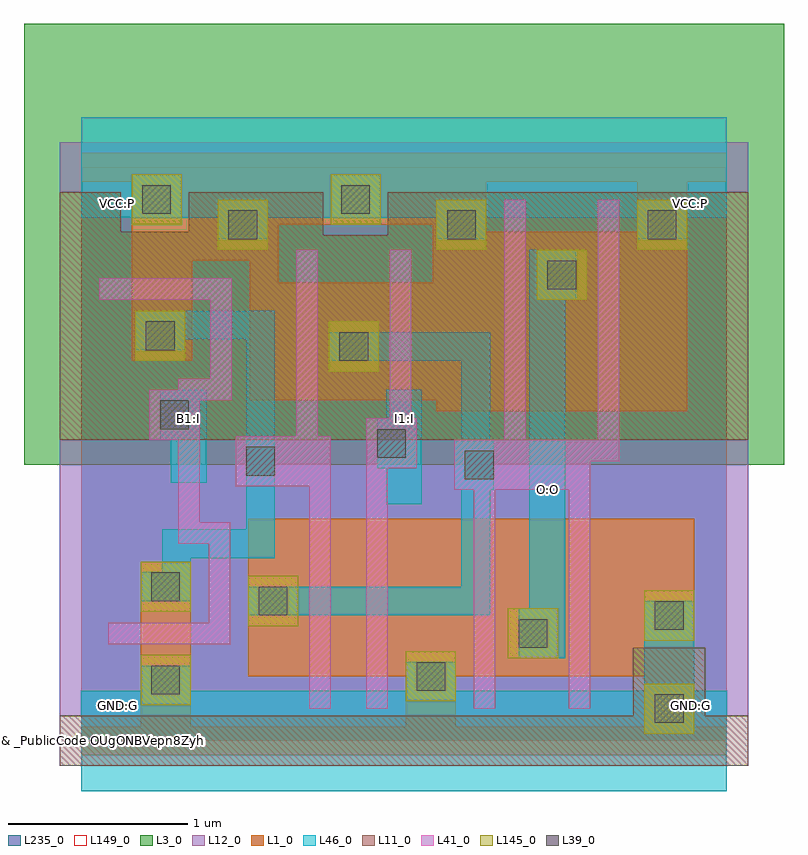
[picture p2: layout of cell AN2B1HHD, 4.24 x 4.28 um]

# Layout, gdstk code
from math import pi, radians
import gdstk
lib = gdstk.Library(unit=1e-6, precision=1e-09)
def R(c, l, rs):  # rectangles x0, y0, x1, y1
    for r in rs: c.add(gdstk.rectangle(r[:2], r[2:], *l))
def P(c, l, *ps):  # polygons
    for p in ps: c.add(gdstk.Polygon(p, *l))
L1_0 = (1, 0)
L3_0 = (3, 0)
L11_0 = (11, 0)
L12_0 = (12, 0)
L39_0 = (39, 0)
L41_0 = (41, 0)
L46_0 = (46, 0)
L145_0 = (145, 0)
L149_0 = (149, 0)
L235_0 = (235, 0)

c_pc = lib.new_cell('PC')
R(c_pc, L39_0, [(-0.08,-0.08,0.08,0.08)])
R(c_pc, L41_0, [(-0.14,-0.14,0.14,0.14)])
R(c_pc, L46_0, [(-0.08,-0.14,0.08,0.14)])

c_mc = lib.new_cell('MC')
R(c_mc, L39_0, [(-0.08,-0.08,0.08,0.08)])
R(c_mc, L46_0, [(-0.08,-0.14,0.08,0.14)])
R(c_mc, L145_0, [(-0.14,-0.14,0.14,0.14)])

ghlenmbpaik__41gum4xw0 = lib.new_cell('GHLENMBPAIK$$41Gum4XW0')
R(ghlenmbpaik__41gum4xw0, L1_0, [(0,-0.08,3.6,0.08), (0.33,0.08,0.61,1), (0.93,0.36,1.81,1.24), (0,3.12,3.6,3.28)])
P(ghlenmbpaik__41gum4xw0, L1_0, [(0.94,3.12),(0.28,3.12),(0.28,2.12),(0.62,2.12),(0.62,2.68),(0.94,2.68)],
  [(3.42,1.24),(1.81,1.24),(1.81,0.08),(2.09,0.08),(2.09,0.36),(3.14,0.36),(3.14,0.08),(3.42,0.08)],
  [(3.38,3.12),(3.1,3.12),(3.1,2.84),(2.26,2.84),(2.26,3.12),(1.96,3.12),(1.96,2.56),(1.1,2.56),(1.1,2.88),(1.96,2.88),(1.96,3.12),(0.94,3.12),(0.94,1.9),(1.98,1.9),(1.98,1.84),(3.38,1.84)])
R(ghlenmbpaik__41gum4xw0, L3_0, [(-0.32,1.54,3.92,4)])
P(ghlenmbpaik__41gum4xw0, L11_0, [(3.72,0.14),(3.48,0.14),(3.48,0.52),(3.08,0.52),(3.08,0.14),(-0.12,0.14),(-0.12,-0.14),(3.72,-0.14)],
  [(3.72,3.06),(1.71,3.06),(1.71,2.82),(1.35,2.82),(1.35,3.06),(0.6,3.06),(0.6,2.84),(0.22,2.84),(0.22,3.06),(-0.12,3.06),(-0.12,1.68),(3.72,1.68)])
P(ghlenmbpaik__41gum4xw0, L12_0, [(3.72,3.34),(-0.12,3.34),(-0.12,3.06),(0.22,3.06),(0.22,2.84),(0.6,2.84),(0.6,3.06),(1.35,3.06),(1.35,2.82),(1.71,2.82),(1.71,3.06),(3.72,3.06)],
  [(3.72,1.68),(-0.12,1.68),(-0.12,0.14),(3.08,0.14),(3.08,0.52),(3.48,0.52),(3.48,0.14),(3.72,0.14)])
R(ghlenmbpaik__41gum4xw0, L41_0, [(2.36,1.4,2.84,1.68), (0.86,1.42,1.39,1.7)])
R(ghlenmbpaik__41gum4xw0, L46_0, [(3.14,0.28,3.42,0.78), (2.08,1.4,2.3,1.68)])
R(ghlenmbpaik__41gum4xw0, L149_0, [(0,0,3.6,3.2)])
R(ghlenmbpaik__41gum4xw0, L235_0, [(0,0,3.6,3.2), (0,0,3.6,3.2), (0,0,3.6,3.2), (0,0,3.6,3.2), (0,0,3.6,3.2), (0,0,3.6,3.2), (0,0,3.6,3.2), (0,0,3.6,3.2), (0,0,3.6,3.2), (0,0,3.6,3.2), (0,0,3.6,3.2), (0,0,3.6,3.2)])
ghlenmbpaik__41gum4xw0.add(gdstk.FlexPath([(0,0),(3.6,0)], 0.56, ends="flush", simple_path=True, layer=46, datatype=0))  # L46_0
ghlenmbpaik__41gum4xw0.add(gdstk.FlexPath([(0,3.2),(3.6,3.2)], 0.56, ends="flush", simple_path=True, layer=46, datatype=0))  # L46_0
ghlenmbpaik__41gum4xw0.add(gdstk.FlexPath([(0.6,1.44),(0.6,1.96)], 0.2, ends="flush", simple_path=True, layer=46, datatype=0))  # L46_0
ghlenmbpaik__41gum4xw0.add(gdstk.FlexPath([(0.3,2.32),(1,2.32),(1,1.1),(0.53,1.1),(0.53,0.78)], 0.16, ends="flush", simple_path=True, layer=46, datatype=0))  # L46_0
ghlenmbpaik__41gum4xw0.add(gdstk.FlexPath([(1.8,1.32),(1.8,1.96)], 0.2, ends="flush", simple_path=True, layer=46, datatype=0))  # L46_0
ghlenmbpaik__41gum4xw0.add(gdstk.FlexPath([(2.6,0.46),(2.6,2.74)], 0.2, ends="flush", simple_path=True, layer=46, datatype=0))  # L46_0
ghlenmbpaik__41gum4xw0.add(gdstk.FlexPath([(1.38,2.2),(2.2,2.2),(2.2,0.78),(0.93,0.78)], 0.16, ends="flush", simple_path=True, layer=46, datatype=0))  # L46_0
ghlenmbpaik__41gum4xw0.add(gdstk.FlexPath([(0.6,0),(0.6,3.2)], 0, ends="flush", simple_path=True, layer=145, datatype=0))  # L145_0
ghlenmbpaik__41gum4xw0.add(gdstk.FlexPath([(1,0),(1,3.2)], 0, ends="flush", simple_path=True, layer=145, datatype=0))  # L145_0
ghlenmbpaik__41gum4xw0.add(gdstk.FlexPath([(1.4,0),(1.4,3.2)], 0, ends="flush", simple_path=True, layer=145, datatype=0))  # L145_0
ghlenmbpaik__41gum4xw0.add(gdstk.FlexPath([(1.8,0),(1.8,3.2)], 0, ends="flush", simple_path=True, layer=145, datatype=0))  # L145_0
ghlenmbpaik__41gum4xw0.add(gdstk.FlexPath([(2.2,0),(2.2,3.2)], 0, ends="flush", simple_path=True, layer=145, datatype=0))  # L145_0
ghlenmbpaik__41gum4xw0.add(gdstk.FlexPath([(2.6,0),(2.6,3.2)], 0, ends="flush", simple_path=True, layer=145, datatype=0))  # L145_0
ghlenmbpaik__41gum4xw0.add(gdstk.FlexPath([(0,3),(3.6,3)], 0, ends="flush", simple_path=True, layer=145, datatype=0))  # L145_0
ghlenmbpaik__41gum4xw0.add(gdstk.FlexPath([(0,2.2),(3.6,2.2)], 0, ends="flush", simple_path=True, layer=145, datatype=0))  # L145_0
ghlenmbpaik__41gum4xw0.add(gdstk.FlexPath([(0,2.6),(3.6,2.6)], 0, ends="flush", simple_path=True, layer=145, datatype=0))  # L145_0
ghlenmbpaik__41gum4xw0.add(gdstk.FlexPath([(0,1.8),(3.6,1.8)], 0, ends="flush", simple_path=True, layer=145, datatype=0))  # L145_0
ghlenmbpaik__41gum4xw0.add(gdstk.FlexPath([(0,1.4),(3.6,1.4)], 0, ends="flush", simple_path=True, layer=145, datatype=0))  # L145_0
ghlenmbpaik__41gum4xw0.add(gdstk.FlexPath([(0,1),(3.6,1)], 0, ends="flush", simple_path=True, layer=145, datatype=0))  # L145_0
ghlenmbpaik__41gum4xw0.add(gdstk.FlexPath([(0,0.6),(3.6,0.6)], 0, ends="flush", simple_path=True, layer=145, datatype=0))  # L145_0
ghlenmbpaik__41gum4xw0.add(gdstk.FlexPath([(0,0.2),(3.6,0.2)], 0, ends="flush", simple_path=True, layer=145, datatype=0))  # L145_0
ghlenmbpaik__41gum4xw0.add(gdstk.FlexPath([(3.4,0),(3.4,3.2)], 0, ends="flush", simple_path=True, layer=145, datatype=0))  # L145_0
ghlenmbpaik__41gum4xw0.add(gdstk.FlexPath([(3,0),(3,3.2)], 0, ends="flush", simple_path=True, layer=145, datatype=0))  # L145_0
ghlenmbpaik__41gum4xw0.add(gdstk.FlexPath([(0.2,0),(0.2,3.2)], 0, ends="flush", simple_path=True, layer=145, datatype=0))  # L145_0
ghlenmbpaik__41gum4xw0.add(gdstk.FlexPath([(1.78,2.74),(1.78,1.74),(1.65,1.74),(1.65,0.18)], 0.12, ends="flush", simple_path=True, layer=41, datatype=0))  # L41_0
ghlenmbpaik__41gum4xw0.add(gdstk.FlexPath([(0.1,2.52),(0.78,2.52),(0.78,1.96),(0.6,1.96),(0.6,1.16),(0.77,1.16),(0.77,0.6),(0.15,0.6)], 0.12, ends="flush", simple_path=True, layer=41, datatype=0))  # L41_0
ghlenmbpaik__41gum4xw0.add(gdstk.FlexPath([(2.94,3.02),(2.94,1.62),(2.78,1.62),(2.78,0.18)], 0.12, ends="flush", simple_path=True, layer=41, datatype=0))  # L41_0
ghlenmbpaik__41gum4xw0.add(gdstk.FlexPath([(1.26,2.74),(1.26,1.52),(1.33,1.52),(1.33,0.18)], 0.12, ends="flush", simple_path=True, layer=41, datatype=0))  # L41_0
ghlenmbpaik__41gum4xw0.add(gdstk.FlexPath([(2.42,3.02),(2.42,1.46),(2.25,1.46),(2.25,0.18)], 0.12, ends="flush", simple_path=True, layer=41, datatype=0))  # L41_0
r = gdstk.Reference(c_pc, (1,1.56)); r.repetition = gdstk.Repetition(1, 1, v1=(0.28,0), v2=(0,0.32)); ghlenmbpaik__41gum4xw0.add(r)
r = gdstk.Reference(c_pc, (2.22,1.54)); r.repetition = gdstk.Repetition(1, 1, v1=(0.28,0), v2=(0,0.32)); ghlenmbpaik__41gum4xw0.add(r)
r = gdstk.Reference(c_pc, (0.52,1.82)); r.repetition = gdstk.Repetition(1, 1, v1=(0.28,0), v2=(0,0.32)); ghlenmbpaik__41gum4xw0.add(r)
r = gdstk.Reference(c_pc, (1.73,1.66)); r.repetition = gdstk.Repetition(1, 1, v1=(0.28,0), v2=(0,0.32)); ghlenmbpaik__41gum4xw0.add(r)
r = gdstk.Reference(c_mc, (3.24,2.88), rotation=pi/2); r.repetition = gdstk.Repetition(1, 1, v1=(0,0.28), v2=(-0.32,0)); ghlenmbpaik__41gum4xw0.add(r)
r = gdstk.Reference(c_mc, (2.68,2.6)); r.repetition = gdstk.Repetition(1, 1, v1=(0.28,0), v2=(0,0.32)); ghlenmbpaik__41gum4xw0.add(r)
r = gdstk.Reference(c_mc, (1.95,0.36), rotation=pi/2); r.repetition = gdstk.Repetition(1, 1, v1=(0,0.28), v2=(-0.32,0)); ghlenmbpaik__41gum4xw0.add(r)
r = gdstk.Reference(c_mc, (3.28,0.18), rotation=pi/2); r.repetition = gdstk.Repetition(1, 1, v1=(0,0.28), v2=(-0.32,0)); ghlenmbpaik__41gum4xw0.add(r)
r = gdstk.Reference(c_mc, (1.07,0.78), rotation=pi/2); r.repetition = gdstk.Repetition(1, 1, v1=(0,0.28), v2=(-0.32,0)); ghlenmbpaik__41gum4xw0.add(r)
r = gdstk.Reference(c_mc, (2.52,0.6)); r.repetition = gdstk.Repetition(1, 1, v1=(0.28,0), v2=(0,0.32)); ghlenmbpaik__41gum4xw0.add(r)
r = gdstk.Reference(c_mc, (0.42,3.02), rotation=pi/2, x_reflection=True); r.repetition = gdstk.Repetition(1, 1, v1=(0,0.28), v2=(0.32,0)); ghlenmbpaik__41gum4xw0.add(r)
r = gdstk.Reference(c_mc, (0.9,2.88), rotation=pi/2); r.repetition = gdstk.Repetition(1, 1, v1=(0,0.28), v2=(-0.32,0)); ghlenmbpaik__41gum4xw0.add(r)
r = gdstk.Reference(c_mc, (2.12,2.88), rotation=pi/2); r.repetition = gdstk.Repetition(1, 1, v1=(0,0.28), v2=(-0.32,0)); ghlenmbpaik__41gum4xw0.add(r)
r = gdstk.Reference(c_mc, (3.28,0.7), rotation=pi/2); r.repetition = gdstk.Repetition(1, 1, v1=(0,0.28), v2=(-0.32,0)); ghlenmbpaik__41gum4xw0.add(r)
r = gdstk.Reference(c_mc, (1.53,3.02), rotation=pi/2, x_reflection=True); r.repetition = gdstk.Repetition(1, 1, v1=(0,0.28), v2=(0.32,0)); ghlenmbpaik__41gum4xw0.add(r)
r = gdstk.Reference(c_mc, (0.47,0.34), rotation=pi/2); r.repetition = gdstk.Repetition(1, 1, v1=(0,0.28), v2=(-0.32,0)); ghlenmbpaik__41gum4xw0.add(r)
r = gdstk.Reference(c_mc, (0.44,2.26), rotation=pi/2); r.repetition = gdstk.Repetition(1, 1, v1=(0,0.28), v2=(-0.32,0)); ghlenmbpaik__41gum4xw0.add(r)
r = gdstk.Reference(c_mc, (0.47,0.86), rotation=3*pi/2, x_reflection=True); r.repetition = gdstk.Repetition(1, 1, v1=(0,-0.28), v2=(-0.32,0)); ghlenmbpaik__41gum4xw0.add(r)
r = gdstk.Reference(c_mc, (1.52,2.2), rotation=pi/2); r.repetition = gdstk.Repetition(1, 1, v1=(0,0.28), v2=(-0.32,0)); ghlenmbpaik__41gum4xw0.add(r)
ghlenmbpaik__41gum4xw0.add(gdstk.Label('#Id:7JQJaQKD4XF6RXVV5bbPNLABMd91ZL2aK99JL0406EKC574E4A3EOSP8MXXWHY99T6WBH22210RAL9', (0.02,0.02), layer=147, texttype=0))
ghlenmbpaik__41gum4xw0.add(gdstk.Label('AN2B1HHD', (0,0), layer=144, texttype=0))
ghlenmbpaik__41gum4xw0.add(gdstk.Label('VCC:P', (0.2,3), layer=101, texttype=0))
ghlenmbpaik__41gum4xw0.add(gdstk.Label('VCC:P', (3.4,3), layer=101, texttype=0))
ghlenmbpaik__41gum4xw0.add(gdstk.Label('GND:G', (0.2,0.2), layer=101, texttype=0))
ghlenmbpaik__41gum4xw0.add(gdstk.Label('GND:G', (3.4,0.2), layer=101, texttype=0))
ghlenmbpaik__41gum4xw0.add(gdstk.Label('B1:I', (0.6,1.8), layer=101, texttype=0))
ghlenmbpaik__41gum4xw0.add(gdstk.Label('O:O', (2.6,1.4), layer=101, texttype=0))
ghlenmbpaik__41gum4xw0.add(gdstk.Label('I1:I', (1.8,1.8), layer=101, texttype=0))

an2b1hhd = lib.new_cell('AN2B1HHD')
R(an2b1hhd, L149_0, [(0,0,3.6,3.2)])
an2b1hhd.add(gdstk.Reference(ghlenmbpaik__41gum4xw0, (0,0)))
an2b1hhd.add(gdstk.Label('& _PublicCode OUgONBVepn8Zyhuhb7nzKSFGv0ozQ4p7', (0,0), layer=3, texttype=0))
an2b1hhd.add(gdstk.Label('& Metric 11.52', (0,0), layer=3, texttype=0))
an2b1hhd.add(gdstk.Label('& Version 2009Q1V3.0', (0,0), layer=3, texttype=0))
an2b1hhd.add(gdstk.Label('& Product FSC0H_D_GENERIC_CORE', (0,0), layer=3, texttype=0))
an2b1hhd.add(gdstk.Label('& Vendor Faraday_Technology_Corp.', (0,0), layer=3, texttype=0))
an2b1hhd.add(gdstk.Label('#Id:7JQJaQKD4XF6RXVV5bbPNLABMd91ZL2aK99JL0406EKC574E4A3EOSP8MXXWHY99T6WBH22210RAL9', (0.02,0.02), layer=147, texttype=0))
an2b1hhd.add(gdstk.Label('AN2B1HHD', (0,0), layer=144, texttype=0))
an2b1hhd.add(gdstk.Label('VCC:P', (0.2,3), layer=101, texttype=0))
an2b1hhd.add(gdstk.Label('VCC:P', (3.4,3), layer=101, texttype=0))
an2b1hhd.add(gdstk.Label('GND:G', (0.2,0.2), layer=101, texttype=0))
an2b1hhd.add(gdstk.Label('GND:G', (3.4,0.2), layer=101, texttype=0))
an2b1hhd.add(gdstk.Label('B1:I', (0.6,1.8), layer=101, texttype=0))
an2b1hhd.add(gdstk.Label('O:O', (2.6,1.4), layer=101, texttype=0))
an2b1hhd.add(gdstk.Label('I1:I', (1.8,1.8), layer=101, texttype=0))

lib.write_gds('AN2B1HHD.gds')
